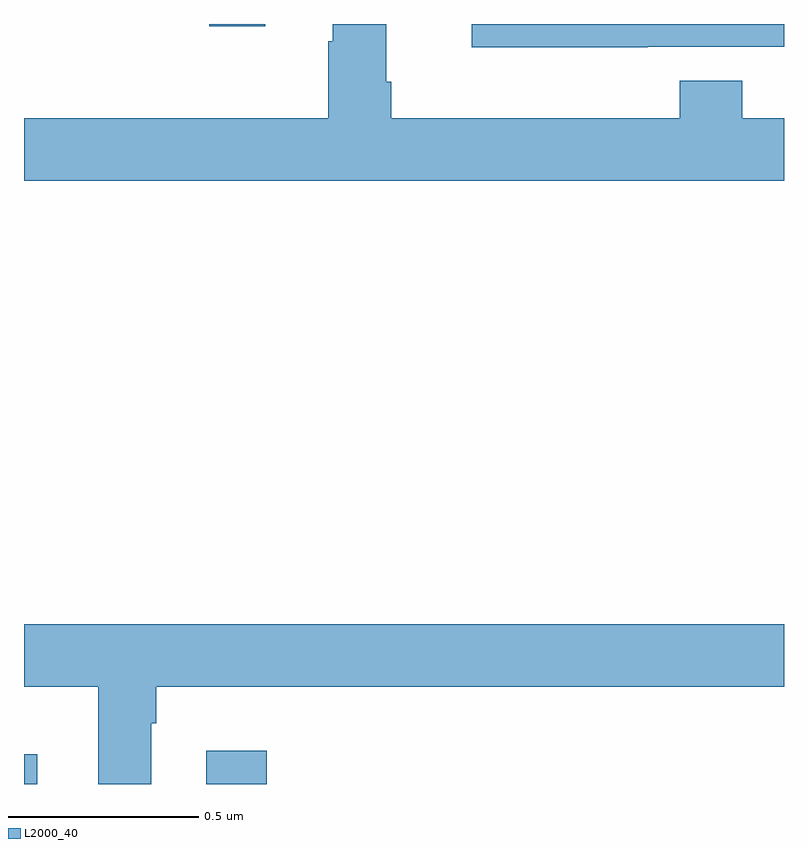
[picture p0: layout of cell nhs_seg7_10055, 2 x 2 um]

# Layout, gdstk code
import gdstk
lib = gdstk.Library(unit=1e-6, precision=1e-09)
def R(c, l, rs):  # rectangles x0, y0, x1, y1
    for r in rs: c.add(gdstk.rectangle(r[:2], r[2:], *l))
def P(c, l, *ps):  # polygons
    for p in ps: c.add(gdstk.Polygon(p, *l))
L2000_40 = (2000, 40)

nhs_seg7_10055 = lib.new_cell('nhs_seg7_10055')
R(nhs_seg7_10055, L2000_40, [(245,1027,245.035,1027.078), (245.48,1027,245.639,1027.087), (245.487,1028.994,245.635,1029)])
P(nhs_seg7_10055, L2000_40, [(246.641,1028.94),(247,1028.94),(247,1029),(246.178,1029),(246.178,1028.939),(246.641,1028.939)],
  [(246.725,1028.851),(246.725,1028.752),(245.966,1028.752),(245.966,1028.848),(245.953,1028.848),(245.953,1029),(245.813,1029),(245.813,1028.954),(245.801,1028.954),(245.801,1028.752),(245,1028.752),(245,1028.588),(247,1028.588),(247,1028.752),(246.89,1028.752),(246.89,1028.851)],
  [(245.335,1027.16),(245.348,1027.16),(245.348,1027.256),(247,1027.256),(247,1027.42),(245,1027.42),(245,1027.256),(245.195,1027.256),(245.195,1027),(245.335,1027)])

lib.write_gds('nhs_seg7_10055.gds')
